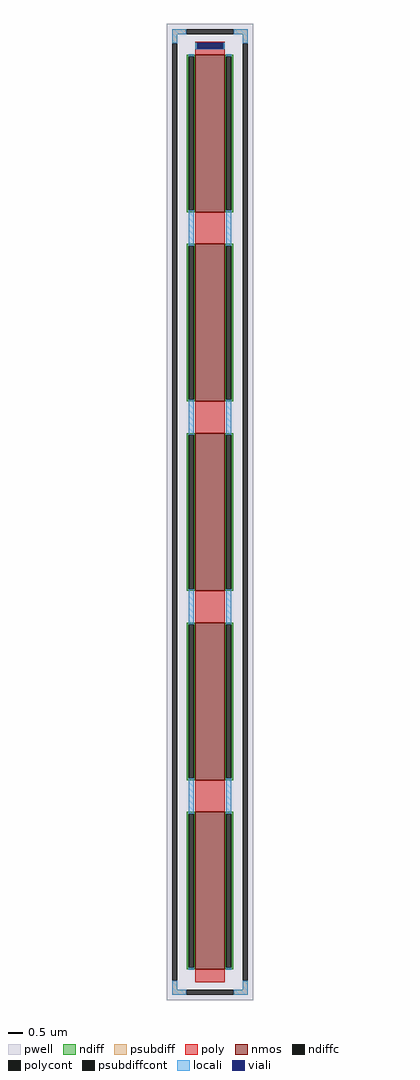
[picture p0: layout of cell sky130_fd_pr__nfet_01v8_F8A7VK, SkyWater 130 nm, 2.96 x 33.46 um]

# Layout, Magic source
magic
tech sky130A
magscale 1 2
<< pwell >>
rect -296 -3346 296 3346
<< nmos >>
rect -100 2056 100 3136
rect -100 758 100 1838
rect -100 -540 100 540
rect -100 -1838 100 -758
rect -100 -3136 100 -2056
<< ndiff >>
rect -158 3124 -100 3136
rect -158 2068 -146 3124
rect -112 2068 -100 3124
rect -158 2056 -100 2068
rect 100 3124 158 3136
rect 100 2068 112 3124
rect 146 2068 158 3124
rect 100 2056 158 2068
rect -158 1826 -100 1838
rect -158 770 -146 1826
rect -112 770 -100 1826
rect -158 758 -100 770
rect 100 1826 158 1838
rect 100 770 112 1826
rect 146 770 158 1826
rect 100 758 158 770
rect -158 528 -100 540
rect -158 -528 -146 528
rect -112 -528 -100 528
rect -158 -540 -100 -528
rect 100 528 158 540
rect 100 -528 112 528
rect 146 -528 158 528
rect 100 -540 158 -528
rect -158 -770 -100 -758
rect -158 -1826 -146 -770
rect -112 -1826 -100 -770
rect -158 -1838 -100 -1826
rect 100 -770 158 -758
rect 100 -1826 112 -770
rect 146 -1826 158 -770
rect 100 -1838 158 -1826
rect -158 -2068 -100 -2056
rect -158 -3124 -146 -2068
rect -112 -3124 -100 -2068
rect -158 -3136 -100 -3124
rect 100 -2068 158 -2056
rect 100 -3124 112 -2068
rect 146 -3124 158 -2068
rect 100 -3136 158 -3124
<< ndiffc >>
rect -146 2068 -112 3124
rect 112 2068 146 3124
rect -146 770 -112 1826
rect 112 770 146 1826
rect -146 -528 -112 528
rect 112 -528 146 528
rect -146 -1826 -112 -770
rect 112 -1826 146 -770
rect -146 -3124 -112 -2068
rect 112 -3124 146 -2068
<< psubdiff >>
rect -260 3276 -164 3310
rect 164 3276 260 3310
rect -260 3214 -226 3276
rect 226 3214 260 3276
rect -260 -3276 -226 -3214
rect 226 -3276 260 -3214
rect -260 -3310 -164 -3276
rect 164 -3310 260 -3276
<< psubdiffcont >>
rect -164 3276 164 3310
rect -260 -3214 -226 3214
rect 226 -3214 260 3214
rect -164 -3310 164 -3276
<< poly >>
rect -100 3214 100 3224
rect -100 3179 -84 3214
rect 84 3179 100 3214
rect -100 3136 100 3179
rect -100 1838 100 2056
rect -100 540 100 758
rect -100 -758 100 -540
rect -100 -2056 100 -1838
rect -100 -3224 100 -3136
<< polycont >>
rect -84 3179 84 3214
<< locali >>
rect -260 3276 -164 3310
rect 164 3276 260 3310
rect -260 3214 -226 3276
rect -100 3216 101 3218
rect -100 3175 -87 3216
rect 91 3175 101 3216
rect -100 3174 101 3175
rect 226 3214 260 3276
rect -146 3124 -112 3140
rect -146 1826 -112 2068
rect -146 528 -112 770
rect -146 -770 -112 -528
rect -146 -2068 -112 -1826
rect -146 -3140 -112 -3124
rect 112 3124 146 3140
rect 112 1826 146 2068
rect 112 528 146 770
rect 112 -770 146 -528
rect 112 -2068 146 -1826
rect 112 -3140 146 -3124
rect -260 -3276 -226 -3214
rect 226 -3276 260 -3214
rect -260 -3310 -164 -3276
rect 164 -3310 260 -3276
<< viali >>
rect -87 3214 91 3216
rect -87 3179 -84 3214
rect -84 3179 84 3214
rect 84 3179 91 3214
rect -87 3175 91 3179
<< properties >>
string FIXED_BBOX -243 -3293 243 3293
string gencell sky130_fd_pr__nfet_01v8
string library sky130
string parameters w 5.4 l 1 m 5 nf 1 diffcov 100 polycov 100 guard 1 glc 1 grc 1 gtc 1 gbc 1 tbcov 100 rlcov 100 topc 1 botc 1 poverlap 0 doverlap 1 lmin 0.15 wmin 0.42 compatible {sky130_fd_pr__nfet_01v8 sky130_fd_pr__nfet_01v8_lvt  sky130_fd_bs_flash__special_sonosfet_star  sky130_fd_pr__nfet_g5v0d10v5 sky130_fd_pr__nfet_05v0_nvt  sky130_fd_pr__nfet_03v3_nvt} full_metal 1 viasrc 100 viadrn 100 viagate 100 viagb 0 viagr 0 viagl 0 viagt 0
<< end >>
